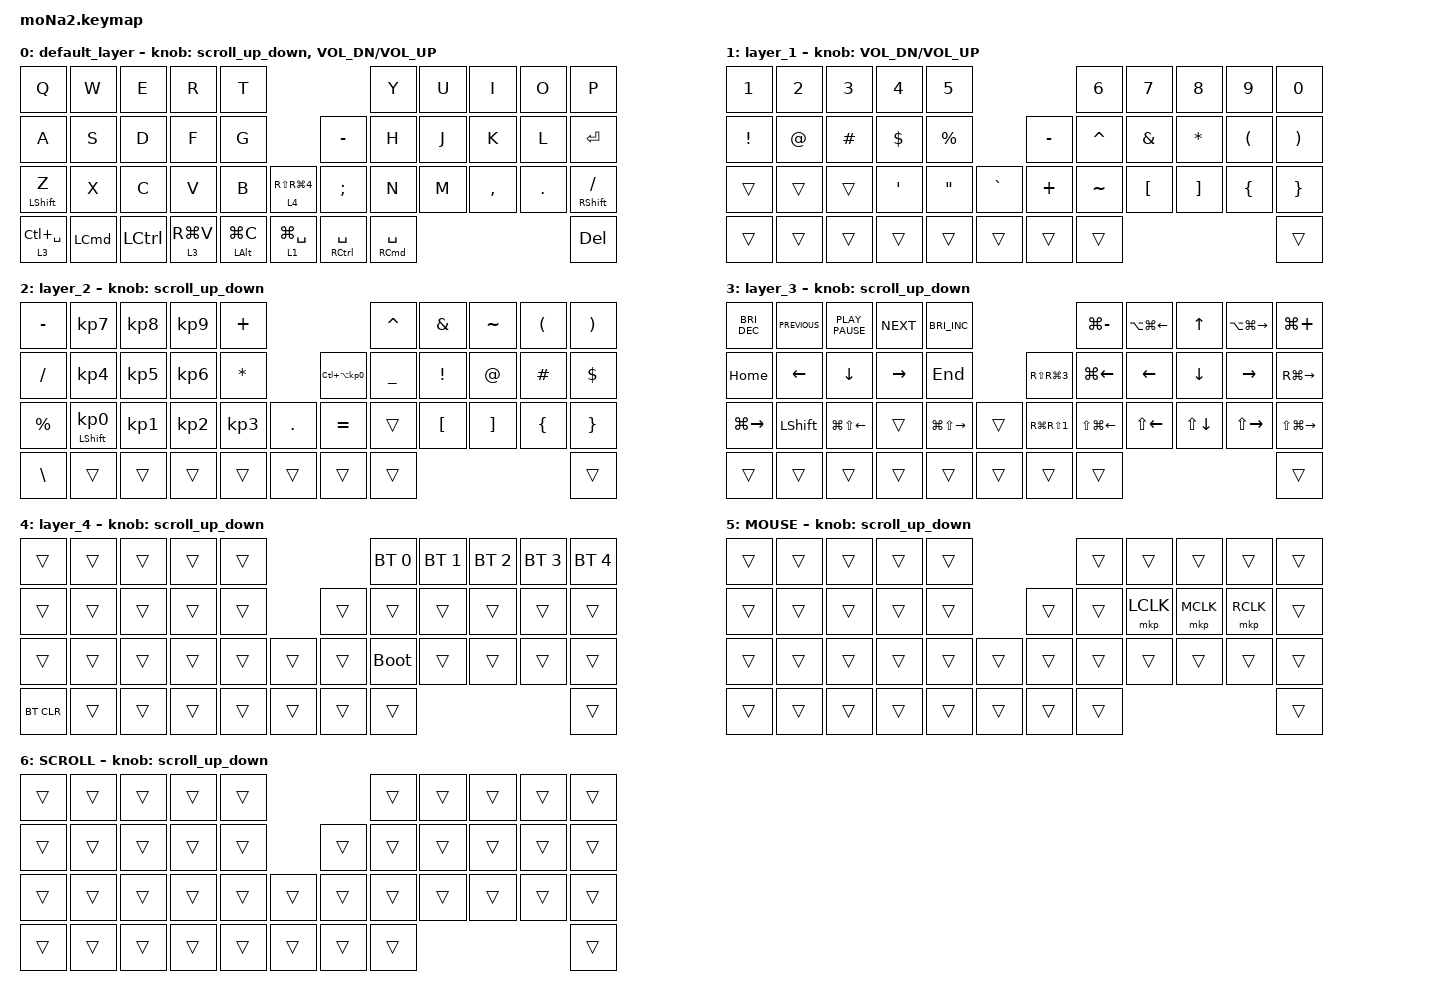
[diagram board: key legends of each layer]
#include <behaviors.dtsi>
#include <dt-bindings/zmk/bt.h>
#include <dt-bindings/zmk/keys.h>
#include <dt-bindings/zmk/pointing.h>

#define ZMK_POINTING_DEFAULT_SCRL_VAL 100
#define MOUSE 5
#define SCROLL 6

&mt {
    flavor = "balanced";
    quick-tap-ms = <0>;
};

/ {
    combos {
        compatible = "zmk,combos";

        Tab {
            bindings = <&kp TAB>;
            key-positions = <10 11>;
        };

        shift-tab {
            bindings = <&kp LS(TAB)>;
            key-positions = <11 12>;
        };

        Escape {
            bindings = <&kp ESCAPE>;
            key-positions = <0 1>;
        };

        left-click {
            bindings = <&mkp LCLK>;
            key-positions = <17 18>;
        };

        right-click {
            bindings = <&mkp RCLK>;
            key-positions = <19 18>;
        };

        Single-Quate {
            bindings = <&kp SQT>;
            key-positions = <30 29>;
        };

        Double-Quate {
            bindings = <&kp DOUBLE_QUOTES>;
            key-positions = <30 31>;
        };

        middle_click {
            bindings = <&mkp MCLK>;
            key-positions = <18 19 17>;
        };

        Backspace {
            bindings = <&kp BACKSPACE>;
            key-positions = <8 9>;
        };
    };

    macros {
        to_layer_0: to_layer_0 {
            compatible = "zmk,behavior-macro-one-param";
            #binding-cells = <1>;
            bindings = <&to 0 &macro_param_1to1 &kp MACRO_PLACEHOLDER>;
            label = "TO_LAYER_0";
        };
    };

    behaviors {
        lt_to_layer_0: lt_to_layer_0 {
            compatible = "zmk,behavior-hold-tap";
            label = "LAYER_TAP_TO_0";
            bindings = <&mo>, <&to_layer_0>;

            #binding-cells = <2>;
            tapping-term-ms = <200>;
        };

        scroll_up_down: behavior_sensor_rotate_mouse_wheel_up_down {
            compatible = "zmk,behavior-sensor-rotate";
            #sensor-binding-cells = <0>;
            bindings = <&msc SCRL_UP>, <&msc SCRL_DOWN>;

            tap-ms = <20>;
        };
    };

    keymap {
        compatible = "zmk,keymap";

        default_layer {
            bindings = <
&kp Q             &kp W             &kp E             &kp R        &kp T                                                                  &kp Y                    &kp U  &kp I      &kp O       &kp P
&kp A             &kp S             &kp D             &kp F        &kp G                                         &kp MINUS                &kp H                    &kp J  &kp K      &kp L       &kp ENTER
&mt LEFT_SHIFT Z  &kp X             &kp C             &kp V        &kp B               &lt 4 RS(RG(NUMBER_4))    &kp SEMICOLON            &kp N                    &kp M  &kp COMMA  &kp PERIOD  &mt RIGHT_SHIFT SLASH
&lt 3 LC(SPACE)   &kp LEFT_COMMAND  &kp LEFT_CONTROL  &lt 3 RG(V)  &mt LEFT_ALT LG(C)  &lt 1 LG(SPACE)           &mt RIGHT_CONTROL SPACE  &mt RIGHT_COMMAND SPACE                                &kp DELETE
            >;

            sensor-bindings =
                <&scroll_up_down>,
                <&inc_dec_kp C_VOL_DN C_VOL_UP>;
        };

        layer_1 {
            bindings = <
&kp NUMBER_1     &kp NUMBER_2  &kp NUMBER_3  &kp NUMBER_4      &kp N5                                     &kp NUMBER_6  &kp N7            &kp N8             &kp N9                &kp N0
&kp EXCLAMATION  &kp AT_SIGN   &kp HASH      &kp DOLLAR        &kp PERCENT                     &kp MINUS  &kp CARET     &kp AMPERSAND     &kp ASTERISK       &kp LEFT_PARENTHESIS  &kp RIGHT_PARENTHESIS
&trans           &trans        &trans        &kp SINGLE_QUOTE  &kp DOUBLE_QUOTES  &kp GRAVE    &kp PLUS   &kp TILDE     &kp LEFT_BRACKET  &kp RIGHT_BRACKET  &kp LEFT_BRACE        &kp RIGHT_BRACE
&trans           &trans        &trans        &trans            &trans             &trans       &trans     &trans                                                                   &trans
            >;

            sensor-bindings = <&inc_dec_kp C_VOL_DN C_VOL_UP>;
        };

        layer_2 {
            bindings = <
&kp MINUS      &kp KP_NUMBER_7             &kp KP_NUMBER_8  &kp KP_NUMBER_9  &kp PLUS                                                &kp CARET       &kp AMPERSAND     &kp TILDE          &kp LEFT_PARENTHESIS  &kp RIGHT_PARENTHESIS
&kp SLASH      &kp KP_NUMBER_4             &kp KP_NUMBER_5  &kp KP_NUMBER_6  &kp ASTERISK                   &kp LC(LA(KP_NUMBER_0))  &kp UNDERSCORE  &kp EXCLAMATION   &kp AT_SIGN        &kp HASH              &kp DOLLAR
&kp PERCENT    &mt LEFT_SHIFT KP_NUMBER_0  &kp KP_NUMBER_1  &kp KP_NUMBER_2  &kp KP_NUMBER_3  &kp PERIOD    &kp EQUAL                &trans          &kp LEFT_BRACKET  &kp RIGHT_BRACKET  &kp LEFT_BRACE        &kp RIGHT_BRACE
&kp BACKSLASH  &trans                      &trans           &trans           &trans           &trans        &trans                   &trans                                                                     &trans
            >;

            sensor-bindings = <&scroll_up_down>;
        };

        layer_3 {
            bindings = <
&kp C_BRIGHTNESS_DEC  &kp K_PREVIOUS  &kp K_PLAY_PAUSE        &kp K_NEXT       &kp C_BRIGHTNESS_INC                                     &kp LG(MINUS)           &kp LA(LG(LEFT_ARROW))  &kp UP_ARROW  &kp LA(LG(RIGHT_ARROW))  &kp LG(PLUS)
&kp HOME              &kp LEFT_ARROW  &kp DOWN_ARROW          &kp RIGHT_ARROW  &kp END                            &kp RS(RG(NUMBER_3))  &kp LG(LEFT)            &kp LEFT                &kp DOWN      &kp RIGHT                &kp RG(RIGHT)
&kp LG(RIGHT_ARROW)   &kp LEFT_SHIFT  &kp LG(LS(LEFT_ARROW))  &trans           &kp LG(LS(RIGHT_ARROW))  &trans    &kp RG(RS(NUMBER_1))  &kp LS(LG(LEFT_ARROW))  &kp LS(LEFT_ARROW)      &kp LS(DOWN)  &kp LS(RIGHT)            &kp LS(LG(RIGHT_ARROW))
&trans                &trans          &trans                  &trans           &trans                   &trans    &trans                &trans                                                                                 &trans
            >;

            sensor-bindings = <&scroll_up_down>;
        };

        layer_4 {
            bindings = <
&trans      &trans  &trans  &trans  &trans                    &bt BT_SEL 0  &bt BT_SEL 1  &bt BT_SEL 2  &bt BT_SEL 3  &bt BT_SEL 4
&trans      &trans  &trans  &trans  &trans            &trans  &trans        &trans        &trans        &trans        &trans
&trans      &trans  &trans  &trans  &trans  &trans    &trans  &bootloader   &trans        &trans        &trans        &trans
&bt BT_CLR  &trans  &trans  &trans  &trans  &trans    &trans  &trans                                                  &trans
            >;

            sensor-bindings = <&scroll_up_down>;
        };

        MOUSE {
            bindings = <
&trans  &trans  &trans  &trans  &trans                    &trans  &trans     &trans     &trans     &trans
&trans  &trans  &trans  &trans  &trans            &trans  &trans  &mkp LCLK  &mkp MCLK  &mkp RCLK  &trans
&trans  &trans  &trans  &trans  &trans  &trans    &trans  &trans  &trans     &trans     &trans     &trans
&trans  &trans  &trans  &trans  &trans  &trans    &trans  &trans                                   &trans
            >;

            sensor-bindings = <&scroll_up_down>;
        };

        SCROLL {
            bindings = <
&trans  &trans  &trans  &trans  &trans                    &trans  &trans  &trans  &trans  &trans
&trans  &trans  &trans  &trans  &trans            &trans  &trans  &trans  &trans  &trans  &trans
&trans  &trans  &trans  &trans  &trans  &trans    &trans  &trans  &trans  &trans  &trans  &trans
&trans  &trans  &trans  &trans  &trans  &trans    &trans  &trans                          &trans
            >;

            sensor-bindings = <&scroll_up_down>;
        };
    };
};
